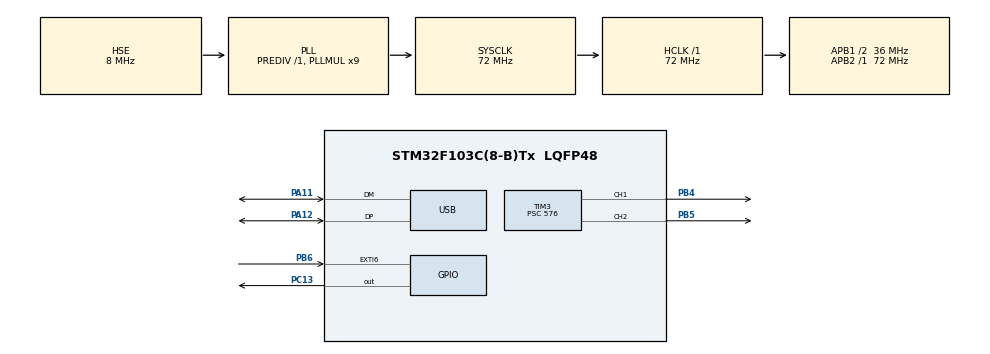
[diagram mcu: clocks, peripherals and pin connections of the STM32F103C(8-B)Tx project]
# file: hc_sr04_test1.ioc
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Mcu.Family=STM32F1
Mcu.Name=STM32F103C(8-B)Tx
Mcu.Package=LQFP48
NVIC.EXTI9_5_IRQn=true\:0\:0\:false\:true\:true\:4\:true
NVIC.PriorityGroup=NVIC_PRIORITYGROUP_4
NVIC.TIM3_IRQn=true\:0\:0\:false\:true\:true\:3\:true
NVIC.USB_LP_CAN1_RX0_IRQn=true\:0\:0\:false\:false\:true\:false
PA11.Mode=Device
PA11.Signal=USB_DM
PA12.Mode=Device
PA12.Signal=USB_DP
PA13.Mode=Serial_Wire
PA13.Signal=SYS_JTMS-SWDIO
PA14.Mode=Serial_Wire
PA14.Signal=SYS_JTCK-SWCLK
PB4.GPIO_Speed=GPIO_SPEED_FREQ_HIGH
PB4.Signal=S_TIM3_CH1
PB5.GPIO_ModeDefaultPP=GPIO_MODE_AF_OD
PB5.GPIO_Speed=GPIO_SPEED_FREQ_HIGH
PB5.Signal=S_TIM3_CH2
PB6.GPIO_ModeDefaultEXTI=GPIO_MODE_IT_RISING_FALLING
PB6.Signal=GPXTI6
PC13-TAMPER-RTC.Signal=GPIO_Output
PD0-OSC_IN.Mode=HSE-External-Oscillator
PD0-OSC_IN.Signal=RCC_OSC_IN
PD1-OSC_OUT.Mode=HSE-External-Oscillator
PD1-OSC_OUT.Signal=RCC_OSC_OUT
ProjectManager.HeapSize=0x200
ProjectManager.StackSize=0x400
ProjectManager.TargetToolchain=SW4STM32
RCC.AHBFreq_Value=72000000
RCC.APB1CLKDivider=RCC_HCLK_DIV2
RCC.APB1Freq_Value=36000000
RCC.APB1TimFreq_Value=72000000
RCC.APB2Freq_Value=72000000
RCC.APB2TimFreq_Value=72000000
RCC.HCLKFreq_Value=72000000
RCC.PLLMUL=RCC_PLL_MUL9
RCC.SYSCLKFreq_VALUE=72000000
RCC.SYSCLKSource=RCC_SYSCLKSOURCE_PLLCLK
RCC.USBFreq_Value=48000000
RCC.USBPrescaler=RCC_USBCLKSOURCE_PLL_DIV1_5
SH.S_TIM3_CH1.0=TIM3_CH1,PWM Generation1 CH1
SH.S_TIM3_CH2.0=TIM3_CH2,PWM Generation2 CH2
TIM3.Channel-PWM\ Generation1\ CH1=TIM_CHANNEL_1
TIM3.Channel-PWM\ Generation2\ CH2=TIM_CHANNEL_2
TIM3.OCFastMode_PWM-PWM\ Generation1\ CH1=TIM_OCFAST_ENABLE
TIM3.OCFastMode_PWM-PWM\ Generation2\ CH2=TIM_OCFAST_ENABLE
TIM3.Period=62499
TIM3.Prescaler=576
TIM3.Pulse-PWM\ Generation1\ CH1=2
TIM3.Pulse-PWM\ Generation2\ CH2=62496
USB_DEVICE.CLASS_NAME_FS=CDC
USB_DEVICE.VirtualMode=Cdc
USB_DEVICE.VirtualModeFS=Cdc_FS
VP_TIM3_VS_ClockSourceINT.Mode=Internal
VP_USB_DEVICE_VS_USB_DEVICE_CDC_FS.Mode=CDC_FS
board=hc_sr04_test1

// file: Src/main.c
/**
  ******************************************************************************
  * @file           : main.c
  * @brief          : Main program body
  ******************************************************************************
  * This notice applies to any and all portions of this file
  * that are not between comment pairs USER CODE BEGIN and
  * USER CODE END. Other portions of this file, whether
  * inserted by the user or by software development tools
  * are owned by their respective copyright owners.
  *
  * Copyright (c) 2019 STMicroelectronics International N.V.
  * All rights reserved.
  *
  * Redistribution and use in source and binary forms, with or without
  * modification, are permitted, provided that the following conditions are met:
  *
  * 1. Redistribution of source code must retain the above copyright notice,
  *    this list of conditions and the following disclaimer.
  * 2. Redistributions in binary form must reproduce the above copyright notice,
  *    this list of conditions and the following disclaimer in the documentation
  *    and/or other materials provided with the distribution.
  * 3. Neither the name of STMicroelectronics nor the names of other
  *    contributors to this software may be used to endorse or promote products
  *    derived from this software without specific written permission.
  * 4. This software, including modifications and/or derivative works of this
  *    software, must execute solely and exclusively on microcontroller or
  *    microprocessor devices manufactured by or for STMicroelectronics.
  * 5. Redistribution and use of this software other than as permitted under
  *    this license is void and will automatically terminate your rights under
  *    this license.
  *
  * THIS SOFTWARE IS PROVIDED BY STMICROELECTRONICS AND CONTRIBUTORS "AS IS"
  * AND ANY EXPRESS, IMPLIED OR STATUTORY WARRANTIES, INCLUDING, BUT NOT
  * LIMITED TO, THE IMPLIED WARRANTIES OF MERCHANTABILITY, FITNESS FOR A
  * PARTICULAR PURPOSE AND NON-INFRINGEMENT OF THIRD PARTY INTELLECTUAL PROPERTY
  * RIGHTS ARE DISCLAIMED TO THE FULLEST EXTENT PERMITTED BY LAW. IN NO EVENT
  * SHALL STMICROELECTRONICS OR CONTRIBUTORS BE LIABLE FOR ANY DIRECT, INDIRECT,
  * INCIDENTAL, SPECIAL, EXEMPLARY, OR CONSEQUENTIAL DAMAGES (INCLUDING, BUT NOT
  * LIMITED TO, PROCUREMENT OF SUBSTITUTE GOODS OR SERVICES; LOSS OF USE, DATA,
  * OR PROFITS; OR BUSINESS INTERRUPTION) HOWEVER CAUSED AND ON ANY THEORY OF
  * LIABILITY, WHETHER IN CONTRACT, STRICT LIABILITY, OR TORT (INCLUDING
  * NEGLIGENCE OR OTHERWISE) ARISING IN ANY WAY OUT OF THE USE OF THIS SOFTWARE,
  * EVEN IF ADVISED OF THE POSSIBILITY OF SUCH DAMAGE.
  *
  ******************************************************************************
  */
#include "main.h"
#include "stm32f1xx_hal.h"
#include "usb_device.h"

TIM_HandleTypeDef htim3;

/* USER CODE BEGIN PV */
/* Private variables ---------------------------------------------------------*/

uint8_t one_byte_buf[ 1 ];
uint8_t send_buf[ 100 ];

/* USER CODE END PV */

void SystemClock_Config(void);
static void MX_GPIO_Init(void);
static void MX_TIM3_Init(void);
static void MX_NVIC_Init(void);
void HAL_TIM_MspPostInit(TIM_HandleTypeDef *htim);

/* USER CODE BEGIN PFP */
/* Private function prototypes -----------------------------------------------*/

/* USER CODE END PFP */

int main(void)
{

  /* MCU Configuration----------------------------------------------------------*/

  /* Reset of all peripherals, Initializes the Flash interface and the Systick. */
  HAL_Init();

  /* Configure the system clock */
  SystemClock_Config();

  /* Initialize all configured peripherals */
  MX_GPIO_Init();
  MX_USB_DEVICE_Init();
  MX_TIM3_Init();

  /* Initialize interrupts */
  MX_NVIC_Init();
  /* USER CODE BEGIN 2 */

  HAL_GPIO_WritePin( GPIOC, GPIO_PIN_13, GPIO_PIN_SET );

  __HAL_RCC_TIM3_CLK_ENABLE();
  HAL_TIM_Base_Start_IT( &htim3 );
  HAL_TIM_PWM_Start( &htim3, TIM_CHANNEL_1 );
  HAL_TIM_PWM_Start( &htim3, TIM_CHANNEL_2 );

  /* USER CODE END 2 */

  /* Infinite loop */
  /* USER CODE BEGIN WHILE */
  while (1)
  {

	  HAL_Delay( 100 );
	  if( one_byte_buf[ 0 ] != 0 ) {
		send_buf[ 0 ]     = one_byte_buf[ 0 ];
		one_byte_buf[ 0 ] = 0;
		send_buf[ 1 ]     = 13;
		send_buf[ 2 ]     = 10;
		CDC_Transmit_FS( send_buf, 3 );
		HAL_Delay( 2 );
	  }
  /* USER CODE END WHILE */

  }

}

void SystemClock_Config(void)
{

  RCC_OscInitTypeDef RCC_OscInitStruct;
  RCC_ClkInitTypeDef RCC_ClkInitStruct;
  RCC_PeriphCLKInitTypeDef PeriphClkInit;

    /**Initializes the CPU, AHB and APB busses clocks
    */
  RCC_OscInitStruct.OscillatorType = RCC_OSCILLATORTYPE_HSE;
  RCC_OscInitStruct.HSEState = RCC_HSE_ON;
  RCC_OscInitStruct.HSEPredivValue = RCC_HSE_PREDIV_DIV1;
  RCC_OscInitStruct.HSIState = RCC_HSI_ON;
  RCC_OscInitStruct.PLL.PLLState = RCC_PLL_ON;
  RCC_OscInitStruct.PLL.PLLSource = RCC_PLLSOURCE_HSE;
  RCC_OscInitStruct.PLL.PLLMUL = RCC_PLL_MUL9;
  if (HAL_RCC_OscConfig(&RCC_OscInitStruct) != HAL_OK)
  {
    _Error_Handler(__FILE__, __LINE__);
  }

    /**Initializes the CPU, AHB and APB busses clocks
    */
  RCC_ClkInitStruct.ClockType = RCC_CLOCKTYPE_HCLK|RCC_CLOCKTYPE_SYSCLK
                              |RCC_CLOCKTYPE_PCLK1|RCC_CLOCKTYPE_PCLK2;
  RCC_ClkInitStruct.SYSCLKSource = RCC_SYSCLKSOURCE_PLLCLK;
  RCC_ClkInitStruct.AHBCLKDivider = RCC_SYSCLK_DIV1;
  RCC_ClkInitStruct.APB1CLKDivider = RCC_HCLK_DIV2;
  RCC_ClkInitStruct.APB2CLKDivider = RCC_HCLK_DIV1;

  if (HAL_RCC_ClockConfig(&RCC_ClkInitStruct, FLASH_LATENCY_2) != HAL_OK)
  {
    _Error_Handler(__FILE__, __LINE__);
  }

  PeriphClkInit.PeriphClockSelection = RCC_PERIPHCLK_USB;
  PeriphClkInit.UsbClockSelection = RCC_USBCLKSOURCE_PLL_DIV1_5;
  if (HAL_RCCEx_PeriphCLKConfig(&PeriphClkInit) != HAL_OK)
  {
    _Error_Handler(__FILE__, __LINE__);
  }

    /**Configure the Systick interrupt time
    */
  HAL_SYSTICK_Config(HAL_RCC_GetHCLKFreq()/1000);

    /**Configure the Systick
    */
  HAL_SYSTICK_CLKSourceConfig(SYSTICK_CLKSOURCE_HCLK);

  /* SysTick_IRQn interrupt configuration */
  HAL_NVIC_SetPriority(SysTick_IRQn, 0, 0);
}

/**
  * @brief NVIC Configuration.
  * @retval None
  */
static void MX_NVIC_Init(void)
{
  /* TIM3_IRQn interrupt configuration */
  HAL_NVIC_SetPriority(TIM3_IRQn, 0, 0);
  HAL_NVIC_EnableIRQ(TIM3_IRQn);
  /* EXTI9_5_IRQn interrupt configuration */
  HAL_NVIC_SetPriority(EXTI9_5_IRQn, 0, 0);
  HAL_NVIC_EnableIRQ(EXTI9_5_IRQn);
}

/* TIM3 init function */
static void MX_TIM3_Init(void)
{

		  TIM_ClockConfigTypeDef sClockSourceConfig;
		  TIM_MasterConfigTypeDef sMasterConfig;
		  TIM_OC_InitTypeDef sConfigOC;

		  htim3.Instance = TIM3;
		  htim3.Init.Prescaler = TIM2_PSC; //576;
		  htim3.Init.CounterMode = TIM_COUNTERMODE_UP;
		  htim3.Init.Period = TIM2_ARR; //62499;
		  htim3.Init.ClockDivision = TIM_CLOCKDIVISION_DIV1;
		  htim3.Init.AutoReloadPreload = TIM_AUTORELOAD_PRELOAD_DISABLE;
		  if (HAL_TIM_Base_Init(&htim3) != HAL_OK)
		  {
		    _Error_Handler(__FILE__, __LINE__);
		  }

		  sClockSourceConfig.ClockSource = TIM_CLOCKSOURCE_INTERNAL;
		  if (HAL_TIM_ConfigClockSource(&htim3, &sClockSourceConfig) != HAL_OK)
		  {
		    _Error_Handler(__FILE__, __LINE__);
		  }

		  if (HAL_TIM_PWM_Init(&htim3) != HAL_OK)
		  {
		    _Error_Handler(__FILE__, __LINE__);
		  }

		  sMasterConfig.MasterOutputTrigger = TIM_TRGO_RESET;
		  sMasterConfig.MasterSlaveMode = TIM_MASTERSLAVEMODE_DISABLE;
		  if (HAL_TIMEx_MasterConfigSynchronization(&htim3, &sMasterConfig) != HAL_OK)
		  {
		    _Error_Handler(__FILE__, __LINE__);
		  }

		  sConfigOC.OCMode = TIM_OCMODE_PWM1;
		  sConfigOC.Pulse = TIM2_CCR3; //2;
		  sConfigOC.OCPolarity = TIM_OCPOLARITY_HIGH;
		  sConfigOC.OCFastMode = TIM_OCFAST_ENABLE;
		  if (HAL_TIM_PWM_ConfigChannel(&htim3, &sConfigOC, TIM_CHANNEL_1) != HAL_OK)
		  {
		    _Error_Handler(__FILE__, __LINE__);
		  }

		  sConfigOC.Pulse = TIM2_CCR2; //62496;
		  if (HAL_TIM_PWM_ConfigChannel(&htim3, &sConfigOC, TIM_CHANNEL_2) != HAL_OK)
		  {
		    _Error_Handler(__FILE__, __LINE__);
		  }

		  HAL_TIM_MspPostInit(&htim3);

}

/** Configure pins as
        * Analog
        * Input
        * Output
        * EVENT_OUT
        * EXTI
*/
static void MX_GPIO_Init(void)
{

  GPIO_InitTypeDef GPIO_InitStruct;

  /* GPIO Ports Clock Enable */
  __HAL_RCC_GPIOC_CLK_ENABLE();
  __HAL_RCC_GPIOD_CLK_ENABLE();
  __HAL_RCC_GPIOA_CLK_ENABLE();
  __HAL_RCC_GPIOB_CLK_ENABLE();

  /*Configure GPIO pin Output Level */
  HAL_GPIO_WritePin(GPIOC, GPIO_PIN_13, GPIO_PIN_RESET);

  /*Configure GPIO pin : PC13 */
  GPIO_InitStruct.Pin = GPIO_PIN_13;
  GPIO_InitStruct.Mode = GPIO_MODE_OUTPUT_PP;
  GPIO_InitStruct.Speed = GPIO_SPEED_FREQ_LOW;
  HAL_GPIO_Init(GPIOC, &GPIO_InitStruct);

  /*Configure GPIO pin : PB6 */
  GPIO_InitStruct.Pin = GPIO_PIN_6;
  GPIO_InitStruct.Mode = GPIO_MODE_IT_RISING_FALLING;
  GPIO_InitStruct.Pull = GPIO_NOPULL;
  HAL_GPIO_Init(GPIOB, &GPIO_InitStruct);

}

/* USER CODE BEGIN 4 */

//static void MX_TIM3_Init(void)  // backup settings for refresh after code gen. by cube
//{
//
//		  TIM_ClockConfigTypeDef sClockSourceConfig;
//		  TIM_MasterConfigTypeDef sMasterConfig;
//		  TIM_OC_InitTypeDef sConfigOC;
//
//		  htim3.Instance = TIM3;
//		  htim3.Init.Prescaler = TIM2_PSC; //576;
//		  htim3.Init.CounterMode = TIM_COUNTERMODE_UP;
//		  htim3.Init.Period = TIM2_ARR; //62499;
//		  htim3.Init.ClockDivision = TIM_CLOCKDIVISION_DIV1;
//		  htim3.Init.AutoReloadPreload = TIM_AUTORELOAD_PRELOAD_DISABLE;
//		  if (HAL_TIM_Base_Init(&htim3) != HAL_OK)
//		  {
//		    _Error_Handler(__FILE__, __LINE__);
//		  }
//
//		  sClockSourceConfig.ClockSource = TIM_CLOCKSOURCE_INTERNAL;
//		  if (HAL_TIM_ConfigClockSource(&htim3, &sClockSourceConfig) != HAL_OK)
//		  {
//		    _Error_Handler(__FILE__, __LINE__);
//		  }
//
//		  if (HAL_TIM_PWM_Init(&htim3) != HAL_OK)
//		  {
//		    _Error_Handler(__FILE__, __LINE__);
//		  }
//
//		  sMasterConfig.MasterOutputTrigger = TIM_TRGO_RESET;
//		  sMasterConfig.MasterSlaveMode = TIM_MASTERSLAVEMODE_DISABLE;
//		  if (HAL_TIMEx_MasterConfigSynchronization(&htim3, &sMasterConfig) != HAL_OK)
//		  {
//		    _Error_Handler(__FILE__, __LINE__);
//		  }
//
//		  sConfigOC.OCMode = TIM_OCMODE_PWM1;
//		  sConfigOC.Pulse = TIM2_CCR3; //2;
//		  sConfigOC.OCPolarity = TIM_OCPOLARITY_HIGH;
//		  sConfigOC.OCFastMode = TIM_OCFAST_ENABLE;
//		  if (HAL_TIM_PWM_ConfigChannel(&htim3, &sConfigOC, TIM_CHANNEL_1) != HAL_OK)
//		  {
//		    _Error_Handler(__FILE__, __LINE__);
//		  }
//
//		  sConfigOC.Pulse = TIM2_CCR2; //62496;
//		  if (HAL_TIM_PWM_ConfigChannel(&htim3, &sConfigOC, TIM_CHANNEL_2) != HAL_OK)
//		  {
//		    _Error_Handler(__FILE__, __LINE__);
//		  }
//
//		  HAL_TIM_MspPostInit(&htim3);
//
//}

/* USER CODE END 4 */

void _Error_Handler(char *file, int line)
{
  while(1)
  {
  }
}

/************************ (C) COPYRIGHT STMicroelectronics *****END OF FILE****/
